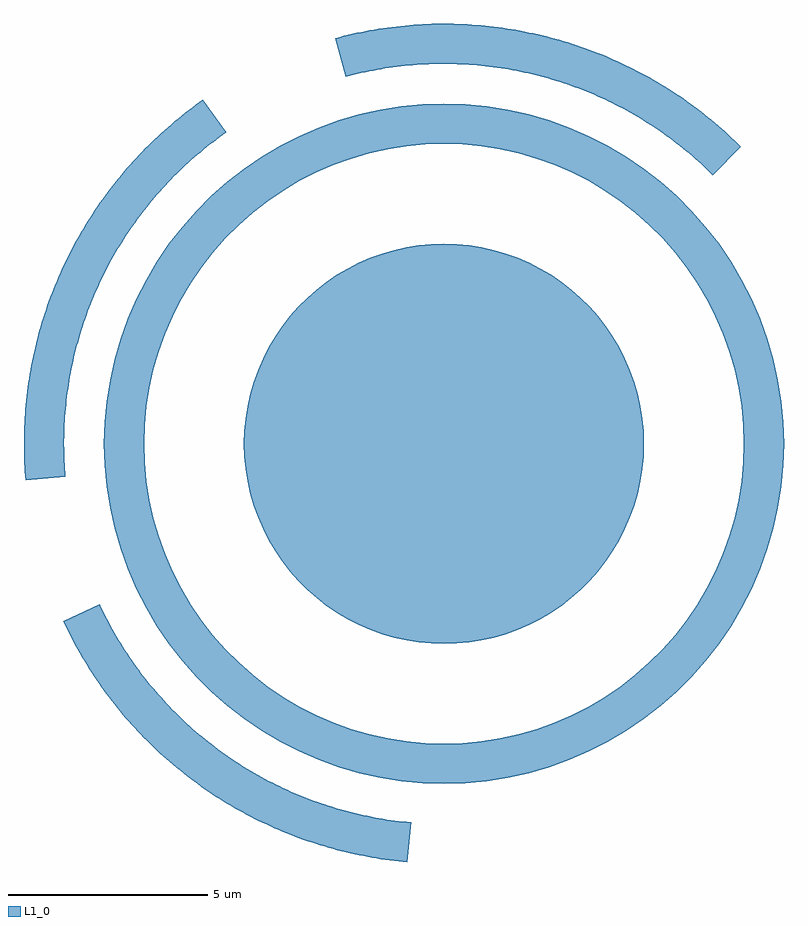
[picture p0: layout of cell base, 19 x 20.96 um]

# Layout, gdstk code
import gdstk
lib = gdstk.Library(unit=1e-6, precision=1e-09)
def P(c, l, *ps):  # polygons
    for p in ps: c.add(gdstk.Polygon(p, *l))
L1_0 = (1, 0)

base = lib.new_cell('base')
P(base, L1_0, [(0,-5),(-0.314,-4.99),(-0.627,-4.961),(-0.937,-4.911),(-1.243,-4.843),(-1.545,-4.755),(-1.841,-4.649),(-2.129,-4.524),(-2.409,-4.382),(-2.679,-4.222),(-2.939,-4.045),(-3.187,-3.853),(-3.423,-3.645),(-3.645,-3.423),(-3.853,-3.187),(-4.045,-2.939),(-4.222,-2.679),(-4.382,-2.409),(-4.524,-2.129),(-4.649,-1.841),(-4.755,-1.545),(-4.843,-1.243),(-4.911,-0.937),(-4.961,-0.627),(-4.99,-0.314),(-5,0),(-4.99,-0.314),(-5,0),(-4.99,0.314),(-4.961,0.627),(-4.911,0.937),(-4.843,1.243),(-4.755,1.545),(-4.649,1.841),(-4.524,2.129),(-4.382,2.409),(-4.222,2.679),(-4.045,2.939),(-3.853,3.187),(-3.645,3.423),(-3.423,3.645),(-3.187,3.853),(-2.939,4.045),(-2.679,4.222),(-2.409,4.382),(-2.129,4.524),(-1.841,4.649),(-1.545,4.755),(-1.243,4.843),(-0.937,4.911),(-0.627,4.961),(-0.314,4.99),(0,5),(0.314,4.99),(0.627,4.961),(0.937,4.911),(1.243,4.843),(1.545,4.755),(1.841,4.649),(2.129,4.524),(2.409,4.382),(2.679,4.222),(2.939,4.045),(3.187,3.853),(3.423,3.645),(3.645,3.423),(3.853,3.187),(4.045,2.939),(4.222,2.679),(4.382,2.409),(4.524,2.129),(4.649,1.841),(4.755,1.545),(4.843,1.243),(4.911,0.937),(4.961,0.627),(4.99,0.314),(5,0),(4.99,-0.314),(4.961,-0.627),(4.911,-0.937),(4.843,-1.243),(4.755,-1.545),(4.649,-1.841),(4.524,-2.129),(4.382,-2.409),(4.222,-2.679),(4.045,-2.939),(3.853,-3.187),(3.645,-3.423),(3.423,-3.645),(3.187,-3.853),(2.939,-4.045),(2.679,-4.222),(2.409,-4.382),(2.129,-4.524),(1.841,-4.649),(1.545,-4.755),(1.243,-4.843),(0.937,-4.911),(0.627,-4.961),(0.314,-4.99)])
base.add(gdstk.FlexPath([(-8,0),(-7.984,-0.502),(-7.937,-1.003),(-7.858,-1.499),(-7.749,-1.99),(-7.608,-2.472),(-7.438,-2.945),(-7.239,-3.406),(-7.01,-3.854),(-6.755,-4.287),(-6.472,-4.702),(-6.164,-5.099),(-5.832,-5.476),(-5.476,-5.832),(-5.099,-6.164),(-4.702,-6.472),(-4.287,-6.755),(-3.854,-7.01),(-3.406,-7.239),(-2.945,-7.438),(-2.472,-7.608),(-1.99,-7.749),(-1.499,-7.858),(-1.003,-7.937),(-0.502,-7.984),(0,-8),(0.502,-7.984),(1.003,-7.937),(1.499,-7.858),(1.99,-7.749),(2.472,-7.608),(2.945,-7.438),(3.406,-7.239),(3.854,-7.01),(4.287,-6.755),(4.702,-6.472),(5.099,-6.164),(5.476,-5.832),(5.832,-5.476),(6.164,-5.099),(6.472,-4.702),(6.755,-4.287),(7.01,-3.854),(7.239,-3.406),(7.438,-2.945),(7.608,-2.472),(7.749,-1.99),(7.858,-1.499),(7.937,-1.003),(7.984,-0.502),(8,0),(7.984,0.502),(7.937,1.003),(7.858,1.499),(7.749,1.99),(7.608,2.472),(7.438,2.945),(7.239,3.406),(7.01,3.854),(6.755,4.287),(6.472,4.702),(6.164,5.099),(5.832,5.476),(5.476,5.832),(5.099,6.164),(4.702,6.472),(4.287,6.755),(3.854,7.01),(3.406,7.239),(2.945,7.438),(2.472,7.608),(1.99,7.749),(1.499,7.858),(1.003,7.937),(0.502,7.984),(0,8),(-0.502,7.984),(-1.003,7.937),(-1.499,7.858),(-1.99,7.749),(-2.472,7.608),(-2.945,7.438),(-3.406,7.239),(-3.854,7.01),(-4.287,6.755),(-4.702,6.472),(-5.099,6.164),(-5.476,5.832),(-5.832,5.476),(-6.164,5.099),(-6.472,4.702),(-6.755,4.287),(-7.01,3.854),(-7.239,3.406),(-7.438,2.945),(-7.608,2.472),(-7.749,1.99),(-7.858,1.499),(-7.937,1.003),(-7.984,0.502),(-8,0),(-7.984,-0.502)], 1, ends="flush", simple_path=True, layer=1, datatype=0))  # L1_0
base.add(gdstk.FlexPath([(7.071,7.071),(6.996,7.145),(6.92,7.219),(6.843,7.292),(6.766,7.364),(6.687,7.435),(6.608,7.505),(6.529,7.575),(6.448,7.643),(6.367,7.711),(6.285,7.778),(6.202,7.844),(6.119,7.909),(6.035,7.974),(5.95,8.037),(5.865,8.099),(5.779,8.161),(5.692,8.222),(5.605,8.281),(5.517,8.34),(5.429,8.398),(5.339,8.455),(5.25,8.511),(5.159,8.566),(5.069,8.62),(4.977,8.673),(4.885,8.726),(4.792,8.777),(4.699,8.827),(4.606,8.876),(4.512,8.924),(4.417,8.972),(4.322,9.018),(4.226,9.063),(4.13,9.107),(4.034,9.15),(3.937,9.193),(3.839,9.234),(3.741,9.274),(3.643,9.313),(3.544,9.351),(3.445,9.388),(3.346,9.424),(3.246,9.459),(3.145,9.492),(3.045,9.525),(2.944,9.557),(2.843,9.587),(2.741,9.617),(2.639,9.645),(2.537,9.673),(2.435,9.699),(2.332,9.724),(2.229,9.748),(2.126,9.771),(2.022,9.793),(1.918,9.814),(1.815,9.834),(1.71,9.853),(1.606,9.87),(1.502,9.887),(1.397,9.902),(1.292,9.916),(1.187,9.929),(1.082,9.941),(0.977,9.952),(0.872,9.962),(0.766,9.971),(0.661,9.978),(0.555,9.985),(0.449,9.99),(0.344,9.994),(0.238,9.997),(0.132,9.999),(0.026,10),(-0.079,10),(-0.185,9.998),(-0.291,9.996),(-0.397,9.992),(-0.502,9.987),(-0.608,9.982),(-0.713,9.975),(-0.819,9.966),(-0.924,9.957),(-1.03,9.947),(-1.135,9.935),(-1.24,9.923),(-1.345,9.909),(-1.449,9.894),(-1.554,9.879),(-1.658,9.862),(-1.763,9.843),(-1.867,9.824),(-1.97,9.804),(-2.074,9.783),(-2.177,9.76),(-2.28,9.737),(-2.383,9.712),(-2.486,9.686),(-2.588,9.659)], 1, ends="flush", simple_path=True, layer=1, datatype=0))  # L1_0
base.add(gdstk.FlexPath([(-5.736,8.192),(-5.822,8.13),(-5.908,8.068),(-5.993,8.005),(-6.077,7.942),(-6.161,7.877),(-6.244,7.811),(-6.326,7.745),(-6.408,7.677),(-6.488,7.609),(-6.569,7.54),(-6.648,7.47),(-6.727,7.4),(-6.804,7.328),(-6.882,7.256),(-6.958,7.182),(-7.034,7.108),(-7.108,7.034),(-7.182,6.958),(-7.256,6.882),(-7.328,6.804),(-7.4,6.727),(-7.47,6.648),(-7.54,6.569),(-7.609,6.488),(-7.677,6.408),(-7.745,6.326),(-7.811,6.244),(-7.877,6.161),(-7.942,6.077),(-8.005,5.993),(-8.068,5.908),(-8.13,5.822),(-8.192,5.736),(-8.252,5.649),(-8.311,5.561),(-8.369,5.473),(-8.427,5.384),(-8.483,5.295),(-8.539,5.205),(-8.593,5.114),(-8.647,5.023),(-8.7,4.931),(-8.751,4.839),(-8.802,4.746),(-8.852,4.653),(-8.9,4.559),(-8.948,4.464),(-8.995,4.369),(-9.041,4.274),(-9.085,4.178),(-9.129,4.082),(-9.172,3.985),(-9.213,3.888),(-9.254,3.79),(-9.293,3.692),(-9.332,3.594),(-9.369,3.495),(-9.406,3.395),(-9.441,3.296),(-9.476,3.196),(-9.509,3.095),(-9.541,2.994),(-9.572,2.893),(-9.602,2.792),(-9.631,2.69),(-9.659,2.588),(-9.686,2.486),(-9.712,2.383),(-9.737,2.28),(-9.76,2.177),(-9.783,2.074),(-9.804,1.97),(-9.824,1.867),(-9.843,1.763),(-9.862,1.658),(-9.879,1.554),(-9.894,1.449),(-9.909,1.345),(-9.923,1.24),(-9.935,1.135),(-9.947,1.03),(-9.957,0.924),(-9.966,0.819),(-9.975,0.713),(-9.982,0.608),(-9.987,0.502),(-9.992,0.397),(-9.996,0.291),(-9.998,0.185),(-10,0.079),(-10,-0.026),(-9.999,-0.132),(-9.997,-0.238),(-9.994,-0.344),(-9.99,-0.449),(-9.985,-0.555),(-9.978,-0.661),(-9.971,-0.766),(-9.962,-0.872)], 1, ends="flush", simple_path=True, layer=1, datatype=0))  # L1_0
base.add(gdstk.FlexPath([(-9.063,-4.226),(-9.018,-4.322),(-8.972,-4.417),(-8.924,-4.512),(-8.876,-4.606),(-8.827,-4.699),(-8.777,-4.792),(-8.726,-4.885),(-8.673,-4.977),(-8.62,-5.069),(-8.566,-5.159),(-8.511,-5.25),(-8.455,-5.339),(-8.398,-5.429),(-8.34,-5.517),(-8.281,-5.605),(-8.222,-5.692),(-8.161,-5.779),(-8.099,-5.865),(-8.037,-5.95),(-7.974,-6.035),(-7.909,-6.119),(-7.844,-6.202),(-7.778,-6.285),(-7.711,-6.367),(-7.643,-6.448),(-7.575,-6.529),(-7.505,-6.608),(-7.435,-6.687),(-7.364,-6.766),(-7.292,-6.843),(-7.219,-6.92),(-7.145,-6.996),(-7.071,-7.071),(-6.996,-7.145),(-6.92,-7.219),(-6.843,-7.292),(-6.766,-7.364),(-6.687,-7.435),(-6.608,-7.505),(-6.529,-7.575),(-6.448,-7.643),(-6.367,-7.711),(-6.285,-7.778),(-6.202,-7.844),(-6.119,-7.909),(-6.035,-7.974),(-5.95,-8.037),(-5.865,-8.099),(-5.779,-8.161),(-5.692,-8.222),(-5.605,-8.281),(-5.517,-8.34),(-5.429,-8.398),(-5.339,-8.455),(-5.25,-8.511),(-5.159,-8.566),(-5.069,-8.62),(-4.977,-8.673),(-4.885,-8.726),(-4.792,-8.777),(-4.699,-8.827),(-4.606,-8.876),(-4.512,-8.924),(-4.417,-8.972),(-4.322,-9.018),(-4.226,-9.063),(-4.13,-9.107),(-4.034,-9.15),(-3.937,-9.193),(-3.839,-9.234),(-3.741,-9.274),(-3.643,-9.313),(-3.544,-9.351),(-3.445,-9.388),(-3.346,-9.424),(-3.246,-9.459),(-3.145,-9.492),(-3.045,-9.525),(-2.944,-9.557),(-2.843,-9.587),(-2.741,-9.617),(-2.639,-9.645),(-2.537,-9.673),(-2.435,-9.699),(-2.332,-9.724),(-2.229,-9.748),(-2.126,-9.771),(-2.022,-9.793),(-1.918,-9.814),(-1.815,-9.834),(-1.71,-9.853),(-1.606,-9.87),(-1.502,-9.887),(-1.397,-9.902),(-1.292,-9.916),(-1.187,-9.929),(-1.082,-9.941),(-0.977,-9.952),(-0.872,-9.962)], 1, ends="flush", simple_path=True, layer=1, datatype=0))  # L1_0

lib.write_gds('base.gds')
